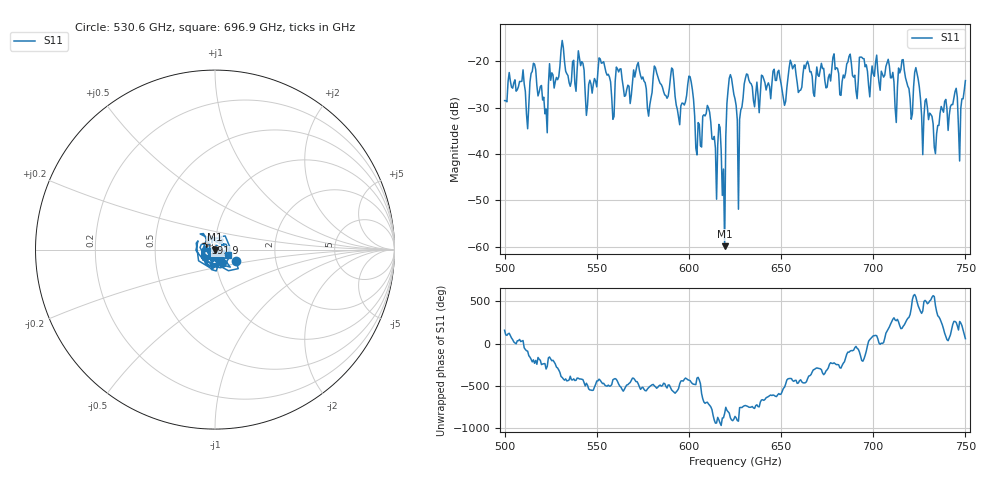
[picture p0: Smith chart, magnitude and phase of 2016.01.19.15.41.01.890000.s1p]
!Created with skrf (http://scikit-rf.org).
# GHz S RI R 50.0
!freq ReS11 ImS11
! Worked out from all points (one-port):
!   401 points, 500 GHz to 750 GHz, reference 50 ohm
!   lowest |S11| = -59.9 dB at 619.4 GHz (marker M1), VSWR 1.00, Z = 50 - j0.0971 ohm
!   |S11| at or under -10 dB: start of sweep to end of sweep
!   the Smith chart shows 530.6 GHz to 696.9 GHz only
!   S11 on the Smith chart (normalised r, x): 530.6 GHz: 1.25, -0.16; 591.9 GHz: 0.90, +0.06; 696.9 GHz: 1.15, -0.07
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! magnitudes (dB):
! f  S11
! 500 GHz  -28.5
! 512.5 GHz  -34.6
! 515.6 GHz  -20.5
! 521.9 GHz  -31.4
! 530.6 GHz  -17.6
! 531.2 GHz  -15.5
! 545 GHz  -29.4
! 562.5 GHz  -21.7
! 578.8 GHz  -29.5
! 581.9 GHz  -21.5
! 591.9 GHz  -24.4
! 593.8 GHz  -30.5
! 600.6 GHz  -23.3
! 605 GHz  -33.2
! 610.6 GHz  -30.1
! 619.4 GHz  -59.9
! 621.9 GHz  -23.7
! 625 GHz  -28.1
! 627.5 GHz  -32.5
! 631.2 GHz  -22.8
! 651.9 GHz  -29.5
! 656.2 GHz  -21.6
! 687.5 GHz  -18.5
! 696.9 GHz  -22.2
! 718.8 GHz  -25.4
! 723.8 GHz  -22.6
! 734.4 GHz  -35.7
! 750 GHz  -24.2
